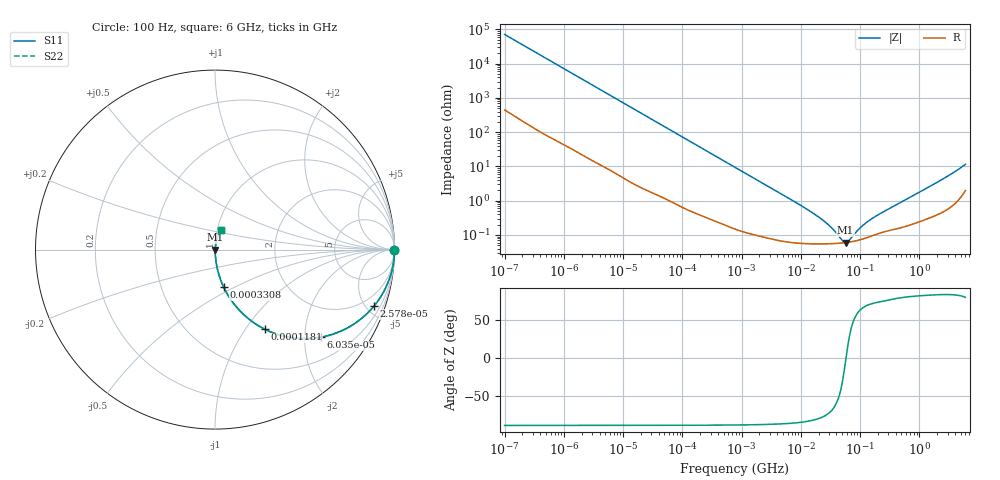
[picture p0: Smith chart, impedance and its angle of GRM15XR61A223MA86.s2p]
!Murata Part Number: GRM15XR61A223MA86
!These Parameters are Measured in Series Mode Connection
!Data Generated on Mar 30, 2021
!  o--ll--o
!Port1  Port2
!  o------o
!Operation Temp=25[degC], DC Bias Voltage=0[V]
!Freq. Start=100[Hz] Stop=6[GHz] 401[Steps]
# Hz S RI R 50
!Freq.(Hz) S11(Real) S11(Imag) S21(Real) S21(Imag) S12(Real) S12(Imag) S22(Real) S22(Imag)
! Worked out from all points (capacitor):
!   401 points, 100 Hz to 6 GHz, reference 50 ohm
!   read as one part in series: C = 22.4 nF near 109 Hz
!   lowest |Z| = 60.3 mohm at 56.99 MHz (marker M1)
!   series resonance near 58.03 MHz, so ESL is about 340 pH
!   S11 on the Smith chart (normalised r, x): 100 Hz: open; 25.78 kHz: 1.04, -5.62; 60.35 kHz: 1.02, -2.41; 118.1 kHz: 1.01, -1.24; 330.8 kHz: 1.01, -0.44; 6 GHz: 1.04, +0.23
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100  1 -0.00141  1.08e-05 0.00141  1.08e-05 0.00141  1 -0.00141
2008  0.999 -0.028  0.000955 0.028  0.000955 0.028  0.999 -0.028
8416  0.9859 -0.1149  0.0141 0.1149  0.0141 0.1149  0.9859 -0.1149
25777  0.886 -0.3144  0.114 0.3144  0.114 0.3144  0.886 -0.3144
40335  0.7624 -0.4217  0.2376 0.4217  0.2376 0.4217  0.7624 -0.4217
60352  0.5916 -0.4874  0.4084 0.4874  0.4084 0.4874  0.5916 -0.4874
82567  0.4384 -0.4919  0.5616 0.4919  0.5616 0.4919  0.4384 -0.4919
118133  0.2781 -0.4436  0.7219 0.4436  0.7219 0.4436  0.2781 -0.4436
193316  0.1279 -0.3288  0.8721 0.3288  0.8721 0.3288  0.1279 -0.3288
330837  0.0493 -0.2104  0.9507 0.2104  0.9507 0.2104  0.0493 -0.2104
774597  0.0105 -0.0942  0.9895 0.0942  0.9895 0.0942  0.0105 -0.0942
2481164  0.00174 -0.0299  0.9983 0.0299  0.9983 0.0299  0.00174 -0.0299
1.555665e7  0.000573 -0.00448  0.9994 0.00448  0.9994 0.00448  0.000573 -0.00448
2.784235e7  0.000558 -0.00207  0.9994 0.00207  0.9994 0.00207  0.000558 -0.00207
4.983056e7  0.000585 -0.000392  0.9994 0.000392  0.9994 0.000392  0.000585 -0.000392
5.699437e7  0.000601 -4.56e-05  0.9994 4.56e-05  0.9994 4.56e-05  0.000601 -4.56e-05
6.518806e7  0.00062 0.000298  0.9994 -0.000298  0.9994 -0.000298  0.00062 0.000298
9.326766e7  0.000705 0.00124  0.9993 -0.00124  0.9993 -0.00124  0.000705 0.00124
1.275994e8  0.00083 0.00215  0.9992 -0.00215  0.9992 -0.00215  0.00083 0.00215
3.124326e8  0.00139 0.00574  0.9986 -0.00574  0.9986 -0.00574  0.00139 0.00574
2.048624e9  0.00515 0.0348  0.9949 -0.0348  0.9949 -0.0348  0.00515 0.0348
6e9  0.0314 0.1078  0.9686 -0.1078  0.9686 -0.1078  0.0314 0.1078
